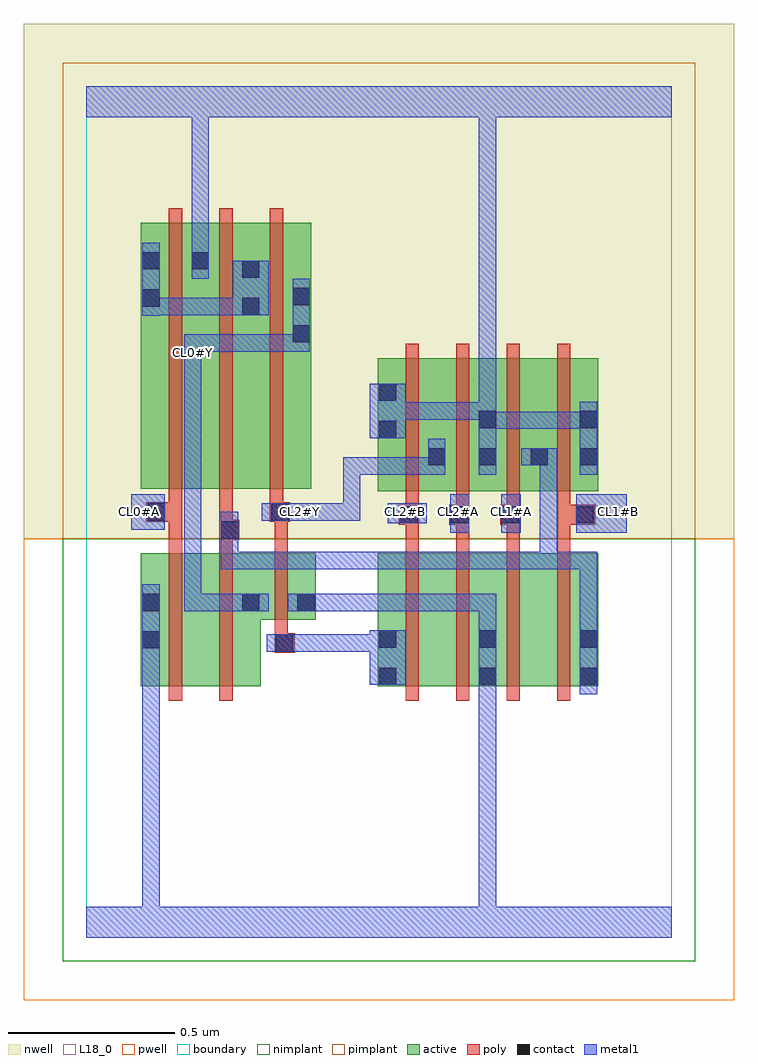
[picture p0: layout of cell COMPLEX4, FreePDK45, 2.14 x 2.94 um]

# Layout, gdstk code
import gdstk
lib = gdstk.Library(unit=1e-6, precision=1e-09)
def R(c, l, rs):  # rectangles x0, y0, x1, y1
    for r in rs: c.add(gdstk.rectangle(r[:2], r[2:], *l))
def A(c, l, x, y, w, h, nx, ny, dx, dy):  # array of equal rectangles
    R(c, l, [(x+i*dx, y+j*dy, x+i*dx+w, y+j*dy+h) for i in range(nx) for j in range(ny)])
active = (1, 0)
pwell = (2, 0)
nwell = (3, 0)
nimplant = (4, 0)
pimplant = (5, 0)
poly = (9, 0)
contact = (10, 0)
metal1 = (11, 0)
L18_0 = (18, 0)
boundary = (235, 0)

complex4 = lib.new_cell('COMPLEX4')
R(complex4, active, [(0.164,0.756,0.224,1.156), (0.164,0.756,0.344,1.156), (0.344,0.756,0.524,1.156), (0.464,0.756,0.524,1.156), (0.876,0.756,0.936,1.156), (0.876,0.756,1.056,1.156), (1.056,0.756,1.236,1.156), (1.176,0.756,1.36,1.156), (1.176,0.756,1.236,0.928), (1.36,0.756,1.54,1.156), (1.48,0.756,1.54,1.156), (0.464,0.956,0.69,1.156), (0.63,0.956,0.69,1.156), (0.876,1.342,1.084,1.742), (0.876,1.342,0.936,1.67), (1.024,1.342,1.084,1.644), (1.024,1.342,1.236,1.742), (1.176,1.342,1.236,1.644), (1.176,1.342,1.392,1.742), (1.332,1.342,1.392,1.644), (1.332,1.342,1.54,1.742), (1.48,1.342,1.54,1.644), (0.164,1.35,0.372,2.15), (0.164,1.35,0.224,2.066), (0.312,1.35,0.524,2.15), (0.464,1.35,0.676,2.15), (0.616,1.35,0.676,2.044), (0.312,1.686,0.372,2.15), (0.464,1.686,0.524,2.044)])
R(complex4, pwell, [(-0.188,-0.188,1.948,1.2)])
R(complex4, nwell, [(-0.188,1.2,1.948,2.748)])
R(complex4, nimplant, [(-0.072,-0.072,1.832,1.2)])
R(complex4, pimplant, [(-0.072,1.2,1.832,2.632)])
A(complex4, poly, 0.96, 0.712, 0.04, 0.488, 4, 2, 0.152, 0.586)
A(complex4, poly, 0.96, 1.16, 0.04, 0.122, 4, 1, 0.152, 0)
A(complex4, poly, 0.94, 1.242, 0.06, 0.06, 3, 1, 0.152, 0)
A(complex4, poly, 0.96, 1.262, 0.04, 0.076, 4, 1, 0.152, 0)
A(complex4, poly, 0.248, 1.306, 0.04, 0.888, 3, 1, 0.152, 0)
R(complex4, poly, [(0.248,0.712,0.288,1.2), (0.4,0.712,0.44,1.2), (0.566,0.856,0.626,0.916), (0.566,0.876,0.606,0.952), (0.566,0.912,0.606,1.2), (0.248,1.16,0.288,1.29), (0.4,1.16,0.44,1.236), (0.566,1.16,0.606,1.29), (0.4,1.196,0.46,1.256), (0.4,1.216,0.44,1.256), (0.4,1.216,0.44,1.256), (0.4,1.216,0.44,1.346), (0.96,1.242,1,1.282), (0.96,1.242,1,1.282), (1.112,1.242,1.152,1.282), (1.112,1.242,1.152,1.282), (1.264,1.242,1.304,1.282), (1.264,1.242,1.304,1.282), (1.416,1.242,1.456,1.282), (1.416,1.242,1.456,1.282), (1.416,1.242,1.53,1.302), (0.18,1.25,0.288,1.31), (0.248,1.25,0.288,1.29), (0.248,1.25,0.288,1.29), (0.552,1.25,0.612,1.31), (0.566,1.25,0.606,1.29), (0.566,1.25,0.606,1.29), (0.248,1.27,0.288,1.346), (0.552,1.27,0.592,1.346)])
A(complex4, contact, 0.944, 1.246, 0.052, 0.052, 3, 1, 0.152, 0)
R(complex4, contact, [(0.88,0.76,0.932,0.812), (1.18,0.76,1.232,0.812), (1.484,0.76,1.536,0.812), (0.57,0.86,0.622,0.912), (0.168,0.87,0.22,0.922), (0.88,0.872,0.932,0.924), (1.18,0.872,1.232,0.924), (1.484,0.872,1.536,0.924), (0.168,0.982,0.22,1.034), (0.468,0.982,0.52,1.034), (0.634,0.982,0.686,1.034), (0.404,1.2,0.456,1.252), (1.474,1.246,1.526,1.298), (0.184,1.254,0.236,1.306), (0.556,1.254,0.608,1.306), (1.028,1.42,1.08,1.472), (1.18,1.42,1.232,1.472), (1.336,1.42,1.388,1.472), (1.484,1.42,1.536,1.472), (0.88,1.502,0.932,1.554), (1.18,1.532,1.232,1.584), (1.484,1.532,1.536,1.584), (0.88,1.614,0.932,1.666), (0.62,1.79,0.672,1.842), (0.468,1.872,0.52,1.924), (0.168,1.898,0.22,1.95), (0.62,1.902,0.672,1.954), (0.468,1.984,0.52,2.036), (0.168,2.01,0.22,2.062), (0.316,2.01,0.368,2.062)])
R(complex4, metal1, [(0,0,1.76,0.092), (0.168,0.04,0.22,0.092), (0.168,0.04,0.22,0.092), (0.168,0.04,0.22,0.092), (0.168,0.04,0.22,0.092), (0.168,0.04,0.22,0.092), (0.168,0.04,0.22,0.092), (0.168,0.04,0.22,0.092), (0.168,0.04,0.22,0.092), (0.168,0.04,0.22,0.092), (0.168,0.04,0.22,0.092), (0.168,0.04,0.22,0.092), (0.168,0.04,0.22,0.092), (0.168,0.04,0.22,0.894), (1.18,0.04,1.232,0.092), (1.18,0.04,1.232,0.092), (1.18,0.04,1.232,0.092), (1.18,0.04,1.232,0.092), (1.18,0.04,1.232,0.092), (1.18,0.04,1.232,0.092), (1.18,0.04,1.232,0.092), (1.18,0.04,1.232,0.092), (1.18,0.04,1.232,0.092), (1.18,0.04,1.232,0.092), (1.18,0.04,1.232,0.784), (1.18,0.732,1.232,0.952), (1.18,0.732,1.232,0.784), (1.18,0.732,1.232,0.784), (1.484,0.732,1.536,0.952), (0.852,0.76,0.96,0.924), (0.168,0.842,0.22,1.062), (0.542,0.86,0.658,0.912), (0.606,0.86,0.658,0.912), (0.606,0.86,0.658,0.912), (0.606,0.86,0.904,0.912), (1.18,0.9,1.232,0.952), (1.18,0.9,1.232,0.952), (1.18,0.9,1.232,1.034), (1.484,0.9,1.536,1.16), (0.294,0.982,0.346,1.034), (0.294,0.982,0.346,1.034), (0.294,0.982,0.346,1.034), (0.294,0.982,0.492,1.034), (0.294,0.982,0.346,1.758), (0.44,0.982,0.548,1.034), (0.606,0.982,0.714,1.034), (0.662,0.982,0.96,1.034), (0.908,0.982,0.96,1.034), (0.908,0.982,0.96,1.034), (0.908,0.982,0.96,1.034), (0.908,0.982,1.07,1.034), (1.018,0.982,1.07,1.034), (1.018,0.982,1.07,1.034), (1.018,0.982,1.07,1.034), (1.018,0.982,1.232,1.034), (1.18,0.982,1.232,1.034), (1.18,0.982,1.232,1.034), (1.18,0.982,1.232,1.034), (0.404,1.108,0.658,1.16), (0.404,1.108,0.456,1.224), (0.606,1.108,0.658,1.16), (0.606,1.108,0.658,1.16), (0.606,1.108,0.658,1.16), (0.606,1.108,0.96,1.16), (0.908,1.108,0.96,1.16), (0.908,1.108,0.96,1.16), (0.908,1.108,0.96,1.16), (0.908,1.108,1.07,1.16), (1.018,1.108,1.07,1.16), (1.018,1.108,1.07,1.16), (1.018,1.108,1.07,1.16), (1.018,1.108,1.25,1.16), (1.198,1.108,1.25,1.16), (1.198,1.108,1.25,1.16), (1.198,1.108,1.25,1.16), (1.198,1.108,1.416,1.16), (1.364,1.108,1.536,1.16), (1.364,1.108,1.416,1.16), (1.364,1.108,1.416,1.16), (1.364,1.108,1.416,1.16), (1.364,1.108,1.416,1.16), (1.364,1.108,1.416,1.16), (1.364,1.108,1.416,1.472), (1.484,1.108,1.536,1.16), (0.404,1.172,0.456,1.224), (0.404,1.172,0.456,1.28), (1.094,1.218,1.152,1.334), (1.248,1.218,1.306,1.334), (1.474,1.218,1.626,1.334), (0.134,1.226,0.236,1.334), (0.906,1.246,1.024,1.306), (0.528,1.254,0.694,1.306), (0.642,1.254,0.694,1.306), (0.642,1.254,0.694,1.306), (0.642,1.254,0.824,1.306), (0.772,1.254,0.824,1.306), (0.772,1.254,0.824,1.444), (0.772,1.392,0.824,1.444), (0.772,1.392,0.824,1.444), (0.772,1.392,0.824,1.444), (0.772,1.392,1.08,1.444), (1.028,1.392,1.08,1.5), (1.18,1.392,1.232,1.612), (1.484,1.392,1.536,1.612), (1.308,1.42,1.416,1.472), (0.852,1.502,0.96,1.666), (1.18,1.53,1.232,1.582), (1.18,1.53,1.232,1.582), (1.18,1.53,1.416,1.582), (1.364,1.53,1.536,1.582), (1.364,1.53,1.416,1.582), (1.364,1.53,1.416,1.582), (1.364,1.53,1.416,1.582), (0.908,1.558,0.96,1.61), (0.908,1.558,0.96,1.61), (0.908,1.558,1.122,1.61), (1.07,1.558,1.122,1.61), (1.07,1.558,1.122,1.61), (1.07,1.558,1.122,1.61), (1.07,1.558,1.232,1.61), (1.18,1.56,1.232,1.612), (1.18,1.56,1.232,1.612), (1.18,1.56,1.232,1.612), (1.18,1.56,1.232,1.612), (1.18,1.56,1.232,1.612), (1.18,1.56,1.232,1.612), (1.18,1.56,1.232,1.612), (1.18,1.56,1.232,1.612), (1.18,1.56,1.232,1.612), (1.18,1.56,1.232,1.612), (1.18,1.56,1.232,1.612), (1.18,1.56,1.232,1.612), (1.18,1.56,1.232,1.612), (1.18,1.56,1.232,1.612), (1.18,1.56,1.232,2.52), (0.294,1.706,0.346,1.814), (0.294,1.762,0.346,1.814), (0.294,1.762,0.346,1.814), (0.294,1.762,0.346,1.814), (0.294,1.762,0.346,1.814), (0.294,1.762,0.47,1.814), (0.418,1.762,0.47,1.814), (0.418,1.762,0.548,1.814), (0.496,1.762,0.548,1.814), (0.496,1.762,0.672,1.814), (0.62,1.762,0.672,1.982), (0.62,1.762,0.672,1.814), (0.62,1.762,0.672,1.814), (0.168,1.87,0.22,2.09), (0.168,1.872,0.22,1.924), (0.168,1.872,0.22,1.924), (0.168,1.872,0.346,1.924), (0.294,1.872,0.346,1.924), (0.294,1.872,0.47,1.924), (0.418,1.872,0.47,1.924), (0.418,1.872,0.492,1.924), (0.44,1.872,0.548,2.036), (0.316,1.982,0.368,2.09), (0.316,2.038,0.368,2.09), (0.316,2.038,0.368,2.09), (0.316,2.038,0.368,2.52), (0,2.468,1.76,2.56), (0.316,2.468,0.368,2.52), (0.316,2.468,0.368,2.52), (0.316,2.468,0.368,2.52), (0.316,2.468,0.368,2.52), (0.316,2.468,0.368,2.52), (0.316,2.468,0.368,2.52), (1.18,2.468,1.232,2.52), (1.18,2.468,1.232,2.52)])
A(complex4, L18_0, 0.934, 1.254, 0.052, 0.052, 3, 1, 0.16, 0)
R(complex4, L18_0, [(0,0,1.76,0.092), (0.168,0.04,0.22,0.092), (0.168,0.04,0.22,0.092), (0.168,0.04,0.22,0.092), (0.168,0.04,0.22,0.092), (0.168,0.04,0.22,0.092), (0.168,0.04,0.22,0.092), (0.168,0.04,0.22,0.092), (0.168,0.04,0.22,0.092), (0.168,0.04,0.22,0.092), (0.168,0.04,0.22,0.092), (0.168,0.04,0.22,0.092), (0.168,0.04,0.22,0.092), (0.168,0.04,0.22,0.894), (1.18,0.04,1.232,0.092), (1.18,0.04,1.232,0.092), (1.18,0.04,1.232,0.092), (1.18,0.04,1.232,0.092), (1.18,0.04,1.232,0.092), (1.18,0.04,1.232,0.092), (1.18,0.04,1.232,0.092), (1.18,0.04,1.232,0.092), (1.18,0.04,1.232,0.092), (1.18,0.04,1.232,0.092), (1.18,0.04,1.232,0.784), (1.18,0.732,1.232,0.784), (1.18,0.732,1.232,0.784), (1.18,0.732,1.232,0.952), (0.852,0.76,0.96,0.924), (0.168,0.842,0.22,1.062), (0.542,0.86,0.658,0.912), (0.606,0.86,0.658,0.912), (0.606,0.86,0.658,0.912), (0.606,0.86,0.904,0.912), (1.18,0.9,1.232,0.952), (1.18,0.9,1.232,0.952), (1.18,0.9,1.232,1.034), (0.294,0.982,0.346,1.034), (0.294,0.982,0.346,1.034), (0.294,0.982,0.346,1.034), (0.294,0.982,0.346,1.758), (0.294,0.982,0.492,1.034), (0.44,0.982,0.548,1.034), (0.606,0.982,0.714,1.034), (0.662,0.982,0.96,1.034), (0.908,0.982,0.96,1.034), (0.908,0.982,0.96,1.034), (0.908,0.982,0.96,1.034), (0.908,0.982,1.07,1.034), (1.018,0.982,1.07,1.034), (1.018,0.982,1.07,1.034), (1.018,0.982,1.07,1.034), (1.018,0.982,1.232,1.034), (1.18,0.982,1.232,1.034), (1.18,0.982,1.232,1.034), (1.18,0.982,1.232,1.034), (1.094,1.218,1.152,1.334), (1.248,1.218,1.306,1.334), (1.474,1.218,1.626,1.334), (0.134,1.226,0.236,1.334), (0.906,1.246,1.024,1.306), (0.134,1.254,0.186,1.306), (0.528,1.254,0.694,1.306), (0.614,1.254,0.666,1.306), (0.642,1.254,0.694,1.306), (0.642,1.254,0.694,1.306), (0.642,1.254,0.824,1.306), (0.772,1.254,0.824,1.306), (0.772,1.254,0.824,1.444), (1.574,1.254,1.626,1.306), (0.772,1.392,0.824,1.444), (0.772,1.392,0.824,1.444), (0.772,1.392,0.824,1.444), (0.772,1.392,1.08,1.444), (1.028,1.392,1.08,1.5), (1.18,1.392,1.232,1.612), (1.484,1.392,1.536,1.612), (0.852,1.502,0.96,1.666), (1.18,1.53,1.232,1.582), (1.18,1.53,1.232,1.582), (1.18,1.53,1.416,1.582), (1.364,1.53,1.416,1.582), (1.364,1.53,1.416,1.582), (1.364,1.53,1.416,1.582), (1.364,1.53,1.536,1.582), (0.908,1.558,0.96,1.61), (0.908,1.558,0.96,1.61), (0.908,1.558,1.122,1.61), (1.07,1.558,1.122,1.61), (1.07,1.558,1.122,1.61), (1.07,1.558,1.122,1.61), (1.07,1.558,1.232,1.61), (1.18,1.56,1.232,1.612), (1.18,1.56,1.232,1.612), (1.18,1.56,1.232,1.612), (1.18,1.56,1.232,1.612), (1.18,1.56,1.232,1.612), (1.18,1.56,1.232,1.612), (1.18,1.56,1.232,1.612), (1.18,1.56,1.232,1.612), (1.18,1.56,1.232,1.612), (1.18,1.56,1.232,1.612), (1.18,1.56,1.232,1.612), (1.18,1.56,1.232,1.612), (1.18,1.56,1.232,1.612), (1.18,1.56,1.232,1.612), (1.18,1.56,1.232,2.52), (0.294,1.706,0.346,1.814), (0.294,1.734,0.346,1.786), (0.294,1.762,0.346,1.814), (0.294,1.762,0.346,1.814), (0.294,1.762,0.346,1.814), (0.294,1.762,0.346,1.814), (0.294,1.762,0.47,1.814), (0.418,1.762,0.47,1.814), (0.418,1.762,0.548,1.814), (0.496,1.762,0.548,1.814), (0.496,1.762,0.672,1.814), (0.62,1.762,0.672,1.814), (0.62,1.762,0.672,1.814), (0.62,1.762,0.672,1.982), (0.316,1.982,0.368,2.09), (0.316,2.038,0.368,2.09), (0.316,2.038,0.368,2.09), (0.316,2.038,0.368,2.52), (0,2.468,1.76,2.56), (0.316,2.468,0.368,2.52), (0.316,2.468,0.368,2.52), (0.316,2.468,0.368,2.52), (0.316,2.468,0.368,2.52), (0.316,2.468,0.368,2.52), (0.316,2.468,0.368,2.52), (1.18,2.468,1.232,2.52), (1.18,2.468,1.232,2.52)])
R(complex4, boundary, [(0,0,1.76,2.56)])
complex4.add(gdstk.Label('CL0#A', (0.16,1.28), layer=11, texttype=0))
complex4.add(gdstk.Label('CL0#Y', (0.32,1.76), layer=11, texttype=0))
complex4.add(gdstk.Label('CL1#A', (1.28,1.28), layer=11, texttype=0))
complex4.add(gdstk.Label('CL1#B', (1.6,1.28), layer=11, texttype=0))
complex4.add(gdstk.Label('CL2#A', (1.12,1.28), layer=11, texttype=0))
complex4.add(gdstk.Label('CL2#B', (0.96,1.28), layer=11, texttype=0))
complex4.add(gdstk.Label('CL2#Y', (0.64,1.28), layer=11, texttype=0))

lib.write_gds('COMPLEX4.gds')
